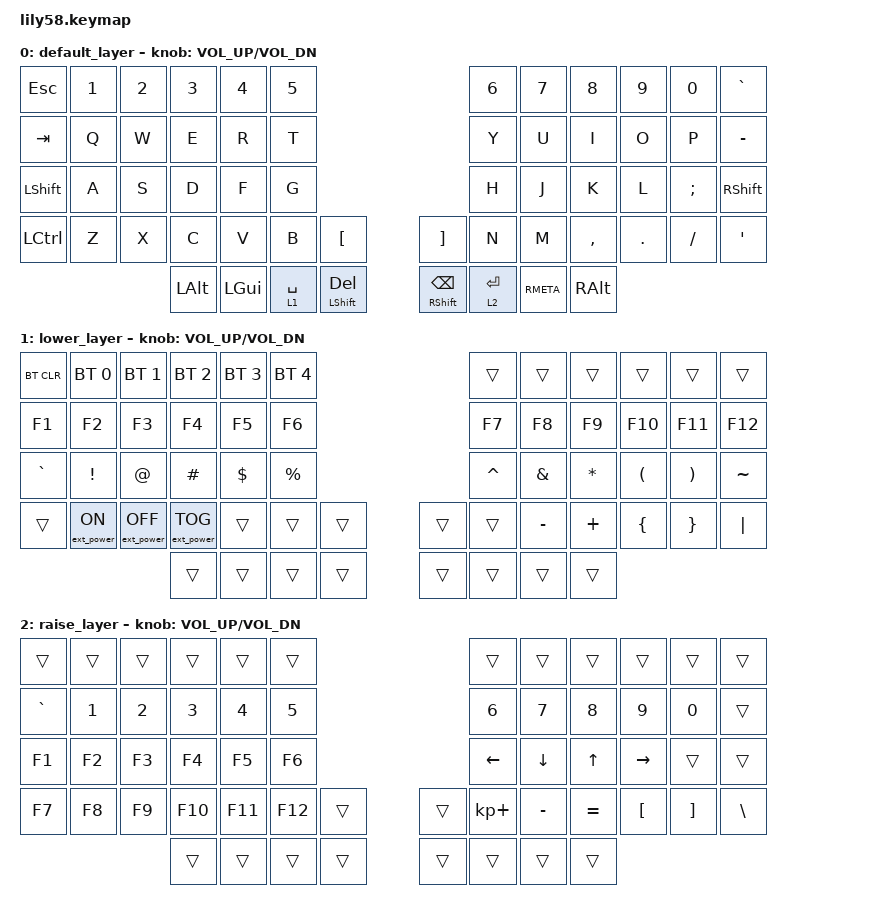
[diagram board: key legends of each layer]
/*
 * Copyright (c) 2020 The ZMK Contributors
 *
 * SPDX-License-Identifier: MIT
 */

#include <behaviors.dtsi>
#include <dt-bindings/zmk/bt.h>
#include <dt-bindings/zmk/ext_power.h>
#include <dt-bindings/zmk/keys.h>

/ {
	behaviors {
		// Noticably slower when using this, I dont think it is worth the effort
		td_bs_dt: tap_dance_backspace_shift_ctrl {
			compatible = "zmk,behavior-tap-dance";
			#binding-cells = <0>;
			tapping-term-ms = <175>; /* Adjust for your preferred double-tap speed */
			bindings = <&mt RSHIFT BACKSPACE>, <&kp LC(BSPC)>; /* Tap, Double-Tap, Hold */
		};
	};

    keymap {
        compatible = "zmk,keymap";

        default_layer {
            // ------------------------------------------------------------------------------------------------------------
            // |  ESC  |  1  |  2  |  3   |  4   |  5   |                   |  6   |  7    |  8    |  9   |   0   |   `   |
            // |  TAB  |  Q  |  W  |  E   |  R   |  T   |                   |  Y   |  U    |  I    |  O   |   P   |   -   |
            // | SHIFT |  A  |  S  |  D   |  F   |  G   |                   |  H   |  J    |  K    |  L   |   ;   | SHIFT |
            // | CTRL |  Z  |  X  |  C   |  V   |  B   |   "["  |  |  "]"  |  N   |  M    |  ,    |  .   |   /   |   '   |
            //                     | ALT  | GUI  | LOWER|  SPACE |  | ENTER | RAISE| BSPC  | GUI   |

            bindings = <
&kp ESC    &kp N1  &kp N2  &kp N3    &kp N4    &kp N5                                                  &kp N6       &kp N7     &kp N8     &kp N9   &kp N0    &kp GRAVE
&kp TAB    &kp Q   &kp W   &kp E     &kp R     &kp T                                                   &kp Y        &kp U      &kp I      &kp O    &kp P     &kp MINUS
&kp LSHFT  &kp A   &kp S   &kp D     &kp F     &kp G                                                   &kp H        &kp J      &kp K      &kp L    &kp SEMI  &kp RSHFT
&kp LCTRL  &kp Z   &kp X   &kp C     &kp V     &kp B        &kp LBKT             &kp RBKT              &kp N        &kp M      &kp COMMA  &kp DOT  &kp FSLH  &kp SQT
                           &kp LALT  &kp LGUI  &lt 1 SPACE  &mt LSHIFT DELETE    &mt RSHIFT BACKSPACE &lt 2 ENTER  &kp RMETA  &kp RALT
            >;

            sensor-bindings = <&inc_dec_kp C_VOL_UP C_VOL_DN>;
        };

        lower_layer {
            // ------------------------------------------------------------------------------------------------------------
            // | BTCLR | BT1 | BT2 |  BT3 |  BT4 |  BT5 |                   |      |       |       |      |       |       |
            // |  F1   |  F2 |  F3 |  F4  |  F5  |  F6  |                   |  F7  |  F8   |  F9   |  F10 |  F11  |  F12  |
            // |   `   |  !  |  @  |  #   |  $   |  %   |                   |  ^   |  &    |  *    |  (   |   )   |   ~   |
            // |       |     |     |      |      |      |        |  |       |      |  _    |  +    |  {   |   }   |  "|"  |
            //                     |      |      |      |        |  |       |      |       |       |

            bindings = <
&bt BT_CLR  &bt BT_SEL 0      &bt BT_SEL 1       &bt BT_SEL 2       &bt BT_SEL 3  &bt BT_SEL 4                    &trans     &trans     &trans     &trans    &trans    &trans
&kp F1      &kp F2            &kp F3             &kp F4             &kp F5        &kp F6                          &kp F7     &kp F8     &kp F9     &kp F10   &kp F11   &kp F12
&kp GRAVE   &kp EXCL          &kp AT             &kp HASH           &kp DOLLAR    &kp PRCNT                       &kp CARET  &kp AMPS   &kp ASTRK  &kp LPAR  &kp RPAR  &kp TILDE
&trans      &ext_power EP_ON  &ext_power EP_OFF  &ext_power EP_TOG  &trans        &trans        &trans    &trans  &trans     &kp MINUS  &kp PLUS   &kp LBRC  &kp RBRC  &kp PIPE
                                                 &trans             &trans        &trans        &trans    &trans  &trans     &trans     &trans
            >;

            sensor-bindings = <&inc_dec_kp C_VOL_UP C_VOL_DN>;
        };

        raise_layer {
            // ------------------------------------------------------------------------------------------------------------
            // |       |     |     |      |      |      |                   |      |       |       |      |       |       |
            // |   `   |  1  |  2  |  3   |  4   |  5   |                   |  6   |   7   |   8   |  9   |   0   |       |
            // |   F1  |  F2 |  F3 |  F4  |  F5  |  F6  |                   |   <-  |   v   |  ^   |  ->   |      |       |
            // |   F7  |  F8 |  F9 |  F10 |  F11 |  F12 |        |  |       |  +   |   -   |   =   |  [   |   ]   |   \   |
            //                     |      |      |      |        |  |       |      |       |       |

            bindings = <
&trans     &trans  &trans  &trans   &trans   &trans                     &trans       &trans     &trans     &trans     &trans    &trans
&kp GRAVE  &kp N1  &kp N2  &kp N3   &kp N4   &kp N5                     &kp N6       &kp N7     &kp N8     &kp N9     &kp N0    &trans
&kp F1     &kp F2  &kp F3  &kp F4   &kp F5   &kp F6                     &kp LEFT     &kp DOWN   &kp UP     &kp RIGHT  &trans    &trans
&kp F7     &kp F8  &kp F9  &kp F10  &kp F11  &kp F12  &trans    &trans  &kp KP_PLUS  &kp MINUS  &kp EQUAL  &kp LBKT   &kp RBKT  &kp BSLH
                           &trans   &trans   &trans   &trans    &trans  &trans       &trans     &trans
            >;

            sensor-bindings = <&inc_dec_kp C_VOL_UP C_VOL_DN>;
        };
    };
};
